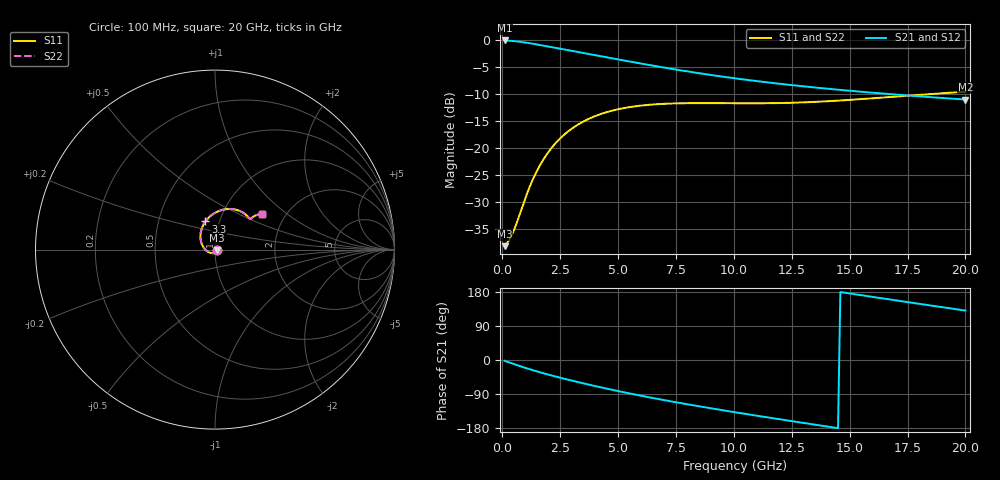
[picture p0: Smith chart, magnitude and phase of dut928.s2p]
! Touchstone file exported from HFSS 2024.1.0
!  File:  C:/UserFiles/LocalFiles/RDL_TSV_Batchsim/temp_RDL_TSV_928_1779960303.aedt
!  Generated:  05:37:40 PM May 28, 2026
!  Design:  RDL_TSV
!  Project:  temp_RDL_TSV_928_1779960303
!  Setup:  Setup1
!  Solution:  Sweep
! Variables:
!  dtsv = 12.56um
!  hbump = 3um
!  htsv = 88.34um
!  ldown = 231.7um
!  lrdl = 619.8um
!  p = 40
!  p1 = 58.35um
!  rhole = 10um
!  subl = 3174.3um
!  t = 450um
!  tdown = 3.52um
!  trdl = 3.76um
!  viad = 10um
!  wdown = 22.66um
!  wrdl = 28.38um
!  xbump = 18um
# GHz S MA R 50.000000
! Terminal data exported
! Port[1] = TM1_1_T1
! Port[2] = TM1_4_T1
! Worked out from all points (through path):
!   200 points, 100 MHz to 20 GHz, reference 50 ohm
!   highest |S21| = -0.11 dB at 100 MHz (marker M1); lowest = -11.1 dB at 20 GHz (marker M2)
!   group delay of S21, straight-line fit = 29.9 ps
!   lowest |S11| = -38.2 dB at 100 MHz (marker M3), VSWR 1.02, Z = 51.2 - j0.336 ohm
!   |S11| at or under -10 dB: start of sweep to 18.63 GHz
!   |S22| runs from -38.2 to -9.6 dB; largest |S21 - S12| = 2.5e-14
!   S11 on the Smith chart (normalised r, x): 100 MHz: 1.02, -0.01; 3.3 GHz: 0.86, +0.28; 20 GHz: 1.54, +0.68
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0.1  0.01226 -15.5  0.9871 -2.2  0.9871 -2.2  0.01226 -15.5
! Gamma 0 0 0 0
! Port Impedance 50 0 50 0
0.3  0.01404 -52.2  0.9819 -6.6  0.9819 -6.6  0.01404 -52.2
0.5  0.01715 -87.8  0.9738 -10.8  0.9738 -10.8  0.01714 -87.8
1.2  0.04438 -167.7  0.9294 -24.7  0.9294 -24.7  0.04439 -167.7
1.4  0.05545 178.8  0.9139 -28.4  0.9139 -28.4  0.05547 178.8
1.7  0.07331 162.3  0.89 -33.7  0.89 -33.7  0.07334 162.2
2  0.09181 148.8  0.8661 -38.7  0.8661 -38.7  0.09185 148.7
2.4  0.1163 133.9  0.835 -45.2  0.835 -45.2  0.1163 133.9
2.8  0.1394 121.6  0.8049 -51.4  0.8049 -51.4  0.1395 121.6
3.3  0.1657 108.8  0.7691 -58.8  0.7691 -58.8  0.1658 108.8
3.5  0.1752 104.3  0.7552 -61.7  0.7552 -61.7  0.1753 104.2
4.3  0.2071 88.9  0.7021 -72.8  0.7021 -72.8  0.2073 88.8
5.2  0.2322 75.5  0.6471 -84.5  0.6471 -84.5  0.2324 75.4
6  0.2462 66.2  0.6026 -94.4  0.6026 -94.4  0.2464 66.1
6.8  0.2543 58.8  0.5624 -103.7  0.5624 -103.7  0.2545 58.8
8.4  0.2594 48.8  0.4945 -121.2  0.4945 -121.2  0.2596 48.8
10.1  0.2584 43.3  0.4386 -138.4  0.4386 -138.4  0.2586 43.2
11.7  0.2591 41.3  0.3979 -153.8  0.3979 -153.8  0.2593 41.2
13.4  0.2656 40.9  0.3637 -169.7  0.3637 -169.7  0.2657 40.7
15  0.2777 40.8  0.3377 175.5  0.3377 175.5  0.2777 40.7
16.7  0.295 40.2  0.3148 160.1  0.3148 160.1  0.2948 40.1
20  0.3302 36.8  0.2798 130.4  0.2798 130.4  0.3298 36.7
